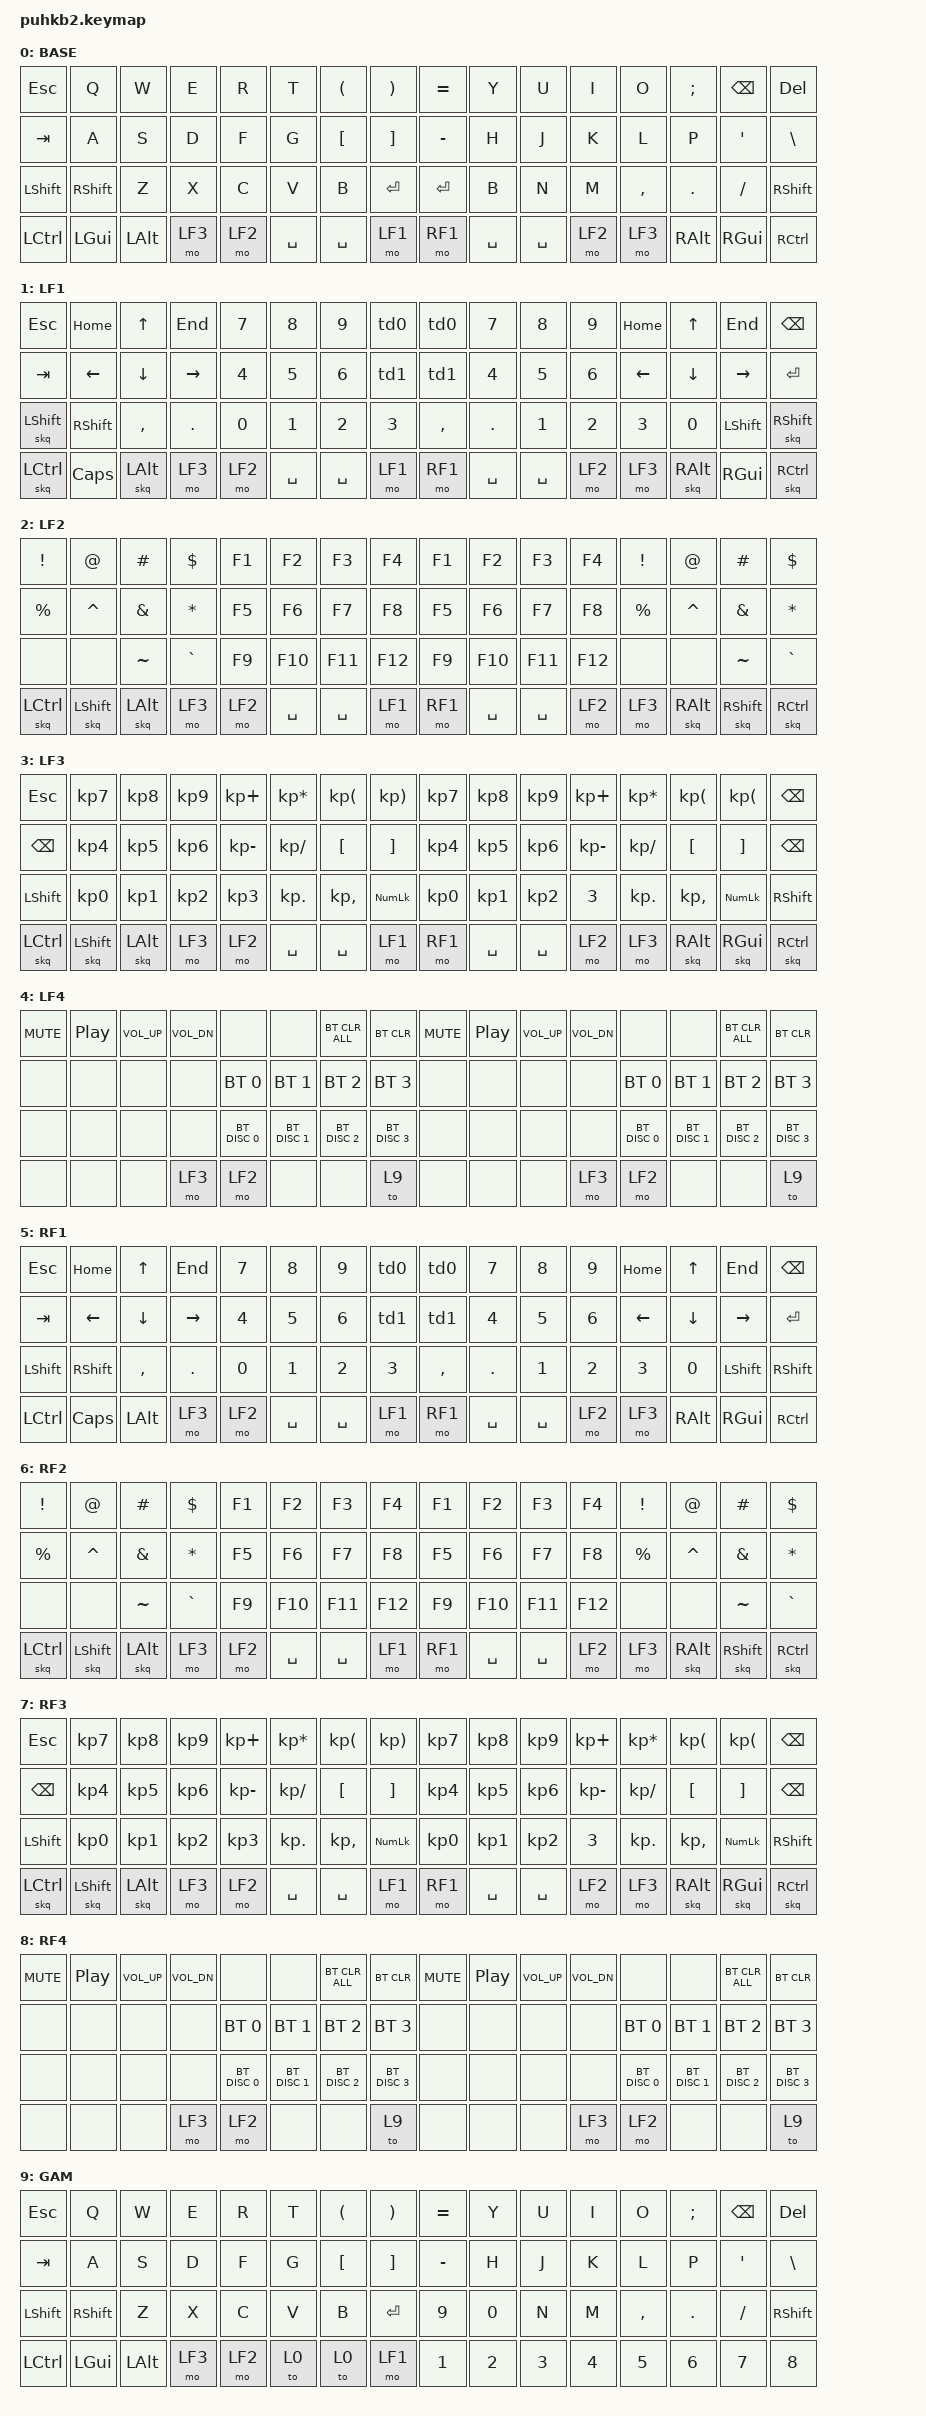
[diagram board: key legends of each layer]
/*
 * Copyright (c) 2020 The ZMK Contributors
 *
 * SPDX-License-Identifier: MIT
 */

#include <behaviors.dtsi>
#include <dt-bindings/zmk/keys.h>
#include <dt-bindings/zmk/bt.h>
#include <dt-bindings/zmk/outputs.h>

#define BASE 0
#define LF1 1
#define LF2 2
#define LF3 3
#define LF4 4
#define RF1 5
#define RF2 6
#define RF3 7
#define RF4 8
#define GAM 9

/ {

   // Activate LR1 layer by pressing LF1 and RF1
	conditional_layers {
		compatible = "zmk,conditional-layers";
		lf4_layer {
			if-layers = <LF2 LF3>;
			then-layer = <LF4>;
		};
		rf4_layer {
			if-layers = <RF2 RF3>;
			then-layer = <RF4>;
        };
    };
    
	behaviors {
		td0: tap_dance_0 {
            compatible = "zmk,behavior-tap-dance";
            #binding-cells = <0>;
			tapping-term-ms = <500>;
            bindings = <&kp KP_PLUS>, <&kp KP_MULTIPLY>;
        };
        td1: tap_dance_1 {
            compatible = "zmk,behavior-tap-dance";
            #binding-cells = <0>;
            tapping-term-ms = <500>;
            bindings = <&kp KP_MINUS>, <&kp KP_DIVIDE>;
        };
        skq: sticky_key_quick_release {
        	compatible = "zmk,behavior-sticky-key";
        	#binding-cells = <1>;
        	bindings = <&kp>;
        	release-after-ms = <3000>;
        	quick-release;
        	ignore-modifiers;
      	};
    };
    
	keymap {
		compatible = "zmk,keymap";
        
		default_layer {
			display-name = "BASE";
// * BASE
// * |---------------------------------------------------------|       |---------------------------------------------------------|
// *   | ESC  |   Q  |   W  |   E  |   R  |   T  |  (   |  )   |         |  =+  |   Y  |   U  |   I  |   O  |  ;:  | BSP  | DEL  |
// * |-----------------------------------------------------------|     |-----------------------------------------------------------|
// *     | TAB  |   A  |   S  |   D  |   F  |   G  |  [{  |  ]}  |         |  -_  |   H  |   J  |   K  |   L  |  P   |  '"  | \|   |
// * |-----------------------------------------------------------|     |-----------------------------------------------------------|
// * |LShift|RShift|   Z  |   X  |   C  |   V  |   B  | ENT  |         | ENT  |  B   |   N  |   M  |  ,<  |  .>  |  /?  |RShift|
// * |-------------------------------------------------------|         |-------------------------------------------------------|
// * |LCTRL | LGUI | LAlt | LF3  | LF2  | SPC  | SPC  | LF1  |         | RF1  |Space |Space |  LF2 | LF3  | RAlt | RGUI |RCTRL |
// * |-------------------------------------------------------|         |-------------------------------------------------------|
// */
            bindings = <
&kp ESC   &kp Q     &kp W    &kp E   &kp R   &kp T     &kp LPAR  &kp RPAR     &kp EQUAL &kp Y     &kp U     &kp I   &kp O     &kp SEMI &kp BSPC &kp DEL
&kp TAB   &kp A     &kp S    &kp D   &kp F   &kp G     &kp LBKT  &kp RBKT     &kp MINUS &kp H     &kp J     &kp K   &kp L     &kp P    &kp SQT  &kp BSLH
&kp LSHFT &kp RSHFT &kp Z    &kp X   &kp C   &kp V     &kp B     &kp RET      &kp RET   &kp B     &kp N     &kp M   &kp COMMA &kp DOT  &kp FSLH &kp RSHFT
&kp LCTRL &kp LGUI  &kp LALT &mo LF3 &mo LF2 &kp SPACE &kp SPACE &mo LF1      &mo RF1   &kp SPACE &kp SPACE &mo LF2 &mo LF3   &kp RALT &kp RGUI &kp RCTRL
            >;
        };

		lf1_layer {
			display-name = "LF1";
// * LF1
// * |---------------------------------------------------------|       |---------------------------------------------------------|
// *   | ESC  |  HO  |  UP  |  EN  |  7&  |  8*  |  9(  |  +*  |         |  +*  |  7&  |  8*  |  9(  |  HO  |  UP  | EN   | ESC  |
// * |-----------------------------------------------------------|     |-----------------------------------------------------------|
// *     | BSP  |  LE  |  DO  |  RI  |  4$  |  5%  |  6^  |  -/  |         |  -/  |  4$  |  5%  |  6^  |  LE  |  DO  | RI  | BSP  |
// * |-----------------------------------------------------------|     |-----------------------------------------------------------|
// * |LShift|RShift|  ,   |  .   |  0)  |  1!  |  2@  |  3#  |         |  ,   |  .   |  1!  |  2@  |  3#  |  0)  |LShift|RShift|
// * |-------------------------------------------------------|         |-------------------------------------------------------|
// * |LCTRL | CAP  | LAlt | LF3  | LF2  | SPC  | SPC  | LF1  |         | RF1  | SPC  | SPC  |  LF2 | LF3  | RAlt | RGUI |RCTRL |
// * |-------------------------------------------------------|         |-------------------------------------------------------|
// */
            bindings = <
&kp ESC    &kp HOME  &kp UP    &kp END   &kp N7  &kp N8    &kp N9    &td0       &td0      &kp N7    &kp N8    &kp N9  &kp HOME &kp UP    &kp END   &kp BSPC
&kp TAB    &kp LEFT  &kp DOWN  &kp RIGHT &kp N4  &kp N5    &kp N6    &td1       &td1      &kp N4    &kp N5    &kp N6  &kp LEFT &kp DOWN  &kp RIGHT &kp RET
&skq LSHFT &kp RSHFT &kp COMMA &kp DOT   &kp N0  &kp N1    &kp N2    &kp N3     &kp COMMA &kp DOT   &kp N1    &kp N2  &kp N3   &kp N0    &kp LSHFT &skq RSHFT
&skq LCTRL &kp CAPS  &skq LALT &mo LF3   &mo LF2 &kp SPACE &kp SPACE &mo LF1    &mo RF1   &kp SPACE &kp SPACE &mo LF2 &mo LF3  &skq RALT &kp RGUI  &skq RCTRL
            >;
        };
        
		lf2_layer {
			display-name = "LF2";
// * LF2
// * |---------------------------------------------------------|       |---------------------------------------------------------|
// *   |  !   |  @   |  #   |  $   |  F1  |  F2  |  F3  |  F4  |         |  F1  |  F2  |  F3  |  F4  |  !   |  @   |  #   |  $   |
// * |-----------------------------------------------------------|     |-----------------------------------------------------------|
// *     |  %   |  ^   |  &   |  *   |  F5  |  F6  |  F7  |  F8  |         |  F5  |  F6  |  F7  |  F8  |  %   |  ^   |  &   |  *   |
// * |-----------------------------------------------------------|     |-----------------------------------------------------------|
// * |      |      |  ~   |  `   |  F9  |  F10 |  F11 |  F12 |         |  F9  |  F10 |  F11 |  F12 |      |      |  ~   |  `   |
// * |-------------------------------------------------------|         |-------------------------------------------------------|
// * |LCTRL |LShift| LAlt | LF3  | LF2  | SPC  | SPC  | LF1  |         | RF1  | SPC  | SPC  |  LF2 | LF3  | RAlt |RShift|RCTRL |
// * |-------------------------------------------------------|         |-------------------------------------------------------|
// */
            bindings = <
&kp EXCL   &kp AT     &kp HASH  &kp DLLR  &kp F1  &kp F2    &kp F3    &kp F4     &kp F1  &kp F2    &kp F3    &kp F4  &kp EXCL  &kp AT     &kp HASH   &kp DLLR
&kp PRCNT  &kp CARET  &kp AMPS  &kp STAR  &kp F5  &kp F6    &kp F7    &kp F8     &kp F5  &kp F6    &kp F7    &kp F8  &kp PRCNT &kp CARET  &kp AMPS   &kp STAR
&none      &none      &kp TILDE &kp GRAVE &kp F9  &kp F10   &kp F11   &kp F12    &kp F9  &kp F10   &kp F11   &kp F12 &none     &none      &kp TILDE  &kp GRAVE
&skq LCTRL &skq LSHFT &skq LALT &mo LF3   &mo LF2 &kp SPACE &kp SPACE &mo LF1    &mo RF1 &kp SPACE &kp SPACE &mo LF2 &mo LF3   &skq RALT  &skq RSHFT &skq RCTRL
            >;
        };
        
		lf3_layer {
			display-name = "LF3";
// * LF3
// * |---------------------------------------------------------|       |---------------------------------------------------------|
// *   | ESC  |  N7  |  N8  |  N9  |  +   |  *   |  (   |  )   |         |  N7  |  N8  |  N9  |  +   |  *   |  (   |  )   | ESC  |
// * |-----------------------------------------------------------|     |-----------------------------------------------------------|
// *     | BSP  |  N4  |  N5  |  N6  |  -   |  /   |  [{  |  ]}  |         |  N4  |  N5  |  N6  |  -   |  /   |  [{  |  ]}  | BSP  |
// * |-----------------------------------------------------------|     |-----------------------------------------------------------|
// * |LShift|  N0  |  N1  |  N2  |  N3  | .DEL |  ,   |NUMLOC|         |  N0  |  N1  |  N2  |  N3  | .DEL |  ,   |NUMLOC|RShift|
// * |-------------------------------------------------------|         |-------------------------------------------------------|
// * |LCTRL |LShift| LAlt | LF3  | LF2  | SPC  | SPC  | LOW  |         | RAI  | SPC  | SPC  |  LF2 | LF3  | RAlt |RShift|RCTRL |
// * |-------------------------------------------------------|         |-------------------------------------------------------|
// */
            bindings = <
&kp ESC    &kp KP_N7  &kp KP_N8 &kp KP_N9 &kp KP_PLUS  &kp KP_MULTIPLY &kp KP_LPAR  &kp KP_RPAR    &kp KP_N7 &kp KP_N8 &kp KP_N9 &kp KP_PLUS  &kp KP_MULTIPLY &kp KP_LPAR  &kp KP_LPAR &kp BSPC
&kp BSPC   &kp KP_N4  &kp KP_N5 &kp KP_N6 &kp KP_MINUS &kp KP_DIVIDE   &kp LBKT     &kp RBKT       &kp KP_N4 &kp KP_N5 &kp KP_N6 &kp KP_MINUS &kp KP_DIVIDE   &kp LBKT     &kp RBKT    &kp BSPC
&kp LSHFT  &kp KP_N0  &kp KP_N1 &kp KP_N2 &kp KP_N3    &kp KP_DOT      &kp KP_COMMA &kp KP_NUM     &kp KP_N0 &kp KP_N1 &kp KP_N2 &kp N3       &kp KP_DOT      &kp KP_COMMA &kp KP_NUM  &kp RSHFT
&skq LCTRL &skq LSHFT &skq LALT &mo LF3   &mo LF2      &kp SPACE       &kp SPACE    &mo LF1        &mo RF1   &kp SPACE &kp SPACE &mo LF2      &mo LF3         &skq RALT    &skq RGUI   &skq RCTRL
            >;
        };
        
        lf4_layer {
			display-name = "LF4";
// * LF4
// * |---------------------------------------------------------|       |---------------------------------------------------------|
// *   | MUTE | PLAY | VUP  | VDO  |      |      | BTCLA| BTCL  |        | MUTE | PLAY | VUP  | VDO  |      |      | BTCLA| BTCL  |
// * |-----------------------------------------------------------|     |-----------------------------------------------------------|
// *     |      |      |      |      | BTS0 | BTS1 | BTS2 | BTS3 |         |      |      |      |      | BTS0 | BTS1 | BTS2 | BTS3 |
// * |-----------------------------------------------------------|     |-----------------------------------------------------------|
// * |      |      |      |      | BTD0 | BTD1 | BTD2 | BTD3 |         |      |      |      |      | BTS0 | BTS1 | BTS2 | BTS3 |
// * |-------------------------------------------------------|         |-------------------------------------------------------|
// * |      |      |      | LF3  | LF2  |      |      | GAME |         | GAME1|      |      |  LF2 | LF3  |      |      | GAME |
// * |-------------------------------------------------------|         |-------------------------------------------------------|
// */
            bindings = <
&kp C_MUTE &kp C_PP &kp C_VOL_UP &kp C_VOL_DN &none         &none         &bt BT_CLR_ALL &bt BT_CLR       &kp C_MUTE &kp C_PP &kp C_VOL_UP &kp C_VOL_DN &none         &none         &bt BT_CLR_ALL &bt BT_CLR
&none      &none    &none        &none        &bt BT_SEL 0  &bt BT_SEL 1  &bt BT_SEL 2   &bt BT_SEL 3     &none      &none    &none        &none        &bt BT_SEL 0  &bt BT_SEL 1  &bt BT_SEL 2   &bt BT_SEL 3
&none      &none    &none        &none        &bt BT_DISC 0 &bt BT_DISC 1 &bt BT_DISC 2  &bt BT_DISC 3    &none      &none    &none        &none        &bt BT_DISC 0 &bt BT_DISC 1 &bt BT_DISC 2  &bt BT_DISC 3
&none      &none    &none        &mo LF3      &mo LF2       &none         &none          &to 9            &none      &none    &none        &mo LF3      &mo LF2       &none         &none          &to 9
            >;
        };
        
		rf1_layer {
			display-name = "RF1";
// * RF1
// * |---------------------------------------------------------|       |---------------------------------------------------------|
// *   | ESC  |  HO  |  UP  |  EN  |  7&  |  8*  |  9(  |  +*  |         |  +*  |  7&  |  8*  |  9(  |  HO  |  UP  | EN   | ESC  |
// * |-----------------------------------------------------------|     |-----------------------------------------------------------|
// *     | BSP  |  LE  |  DO  |  RI  |  4$  |  5%  |  6^  |  -/  |         |  -/  |  4$  |  5%  |  6^  |  LE  |  DO  | RI  | BSP  |
// * |-----------------------------------------------------------|     |-----------------------------------------------------------|
// * |LShift|RShift|  ,   |  .   |  0)  |  1!  |  2@  |  3#  |         |  ,   |  .   |  1!  |  2@  |  3#  |  0)  |LShift|RShift|
// * |-------------------------------------------------------|         |-------------------------------------------------------|
// * |LCTRL | CAP  | LAlt | LF3  | LF2  | SPC  | SPC  | LF1  |         | RF1  | SPC  | SPC  |  LF2 | LF3  | RAlt | RGUI |RCTRL |
// * |-------------------------------------------------------|         |-------------------------------------------------------|
// */
            bindings = <
&kp ESC   &kp HOME  &kp UP    &kp END   &kp N7  &kp N8    &kp N9    &td0       &td0      &kp N7    &kp N8    &kp N9  &kp HOME &kp UP   &kp END   &kp BSPC
&kp TAB   &kp LEFT  &kp DOWN  &kp RIGHT &kp N4  &kp N5    &kp N6    &td1       &td1      &kp N4    &kp N5    &kp N6  &kp LEFT &kp DOWN &kp RIGHT &kp RET
&kp LSHFT &kp RSHFT &kp COMMA &kp DOT   &kp N0  &kp N1    &kp N2    &kp N3     &kp COMMA &kp DOT   &kp N1    &kp N2  &kp N3   &kp N0   &kp LSHFT &kp RSHFT
&kp LCTRL &kp CAPS  &kp LALT  &mo LF3   &mo LF2 &kp SPACE &kp SPACE &mo LF1    &mo RF1   &kp SPACE &kp SPACE &mo LF2 &mo LF3  &kp RALT &kp RGUI  &kp RCTRL
            >;
        };
        
		rf2_layer {
			display-name = "RF2";
// * RF2
// * |---------------------------------------------------------|       |---------------------------------------------------------|
// *   |  !   |  @   |  #   |  $   |  F1  |  F2  |  F3  |  F4  |         |  F1  |  F2  |  F3  |  F4  |  !   |  @   |  #   |  $   |
// * |-----------------------------------------------------------|     |-----------------------------------------------------------|
// *     |  %   |  ^   |  &   |  *   |  F5  |  F6  |  F7  |  F8  |         |  F5  |  F6  |  F7  |  F8  |  %   |  ^   |  &   |  *   |
// * |-----------------------------------------------------------|     |-----------------------------------------------------------|
// * |      |      |  ~   |  `   |  F9  |  F10 |  F11 |  F12 |         |  F9  |  F10 |  F11 |  F12 |  !   |  !   |  ~   |  `   |
// * |-------------------------------------------------------|         |-------------------------------------------------------|
// * |LCTRL |LShift| LAlt | LF3  | LF2  | SPC  | SPC  | LF1  |         | RF1  | SPC  | SPC  |  LF2 | LF3  | RAlt |RShift|RCTRL |
// * |-------------------------------------------------------|         |-------------------------------------------------------|
// */
            bindings = <
&kp EXCL   &kp AT     &kp HASH  &kp DLLR  &kp F1  &kp F2    &kp F3    &kp F4     &kp F1  &kp F2    &kp F3    &kp F4  &kp EXCL  &kp AT     &kp HASH   &kp DLLR
&kp PRCNT  &kp CARET  &kp AMPS  &kp STAR  &kp F5  &kp F6    &kp F7    &kp F8     &kp F5  &kp F6    &kp F7    &kp F8  &kp PRCNT &kp CARET  &kp AMPS   &kp STAR
&none      &none      &kp TILDE &kp GRAVE &kp F9  &kp F10   &kp F11   &kp F12    &kp F9  &kp F10   &kp F11   &kp F12 &none     &none      &kp TILDE  &kp GRAVE
&skq LCTRL &skq LSHFT &skq LALT &mo LF3   &mo LF2 &kp SPACE &kp SPACE &mo LF1    &mo RF1 &kp SPACE &kp SPACE &mo LF2 &mo LF3   &skq RALT  &skq RSHFT &skq RCTRL
            >;
        };
        
        rf3_layer {
			display-name = "RF3";
// * RF3
// * |---------------------------------------------------------|       |---------------------------------------------------------|
// *   | ESC  |  N7  |  N8  |  N9  |  +   |  *   |  (   |  )   |         |  N7  |  N8  |  N9  |  +   |  *   |  (   |  )   | ESC  |
// * |-----------------------------------------------------------|     |-----------------------------------------------------------|
// *     | BSP  |  N4  |  N5  |  N6  |  -   |  /   |  [{  |  ]}  |         |  N4  |  N5  |  N6  |  -   |  /   |  [{  |  ]}  | BSP  |
// * |-----------------------------------------------------------|     |-----------------------------------------------------------|
// * |LShift|  N0  |  N1  |  N2  |  N3  | .DEL |  ,   |NUMLOC|         |  N0  |  N1  |  N2  |  N3  | .DEL |  ,   |NUMLOC|RShift|
// * |-------------------------------------------------------|         |-------------------------------------------------------|
// * |LCTRL |LShift| LAlt | LF3  | LF2  | SPC  | SPC  | LOW  |         | RAI  | SPC  | SPC  |  LF2 | LF3  | RAlt |RShift|RCTRL |
// * |-------------------------------------------------------|         |-------------------------------------------------------|
// */
            bindings = <
&kp ESC    &kp KP_N7  &kp KP_N8 &kp KP_N9 &kp KP_PLUS  &kp KP_MULTIPLY &kp KP_LPAR  &kp KP_RPAR    &kp KP_N7 &kp KP_N8 &kp KP_N9 &kp KP_PLUS  &kp KP_MULTIPLY &kp KP_LPAR  &kp KP_LPAR &kp BSPC
&kp BSPC   &kp KP_N4  &kp KP_N5 &kp KP_N6 &kp KP_MINUS &kp KP_DIVIDE   &kp LBKT     &kp RBKT       &kp KP_N4 &kp KP_N5 &kp KP_N6 &kp KP_MINUS &kp KP_DIVIDE   &kp LBKT     &kp RBKT    &kp BSPC
&kp LSHFT  &kp KP_N0  &kp KP_N1 &kp KP_N2 &kp KP_N3    &kp KP_DOT      &kp KP_COMMA &kp KP_NUM     &kp KP_N0 &kp KP_N1 &kp KP_N2 &kp N3       &kp KP_DOT      &kp KP_COMMA &kp KP_NUM  &kp RSHFT
&skq LCTRL &skq LSHFT &skq LALT &mo LF3   &mo LF2      &kp SPACE       &kp SPACE    &mo LF1        &mo RF1   &kp SPACE &kp SPACE &mo LF2      &mo LF3         &skq RALT    &skq RGUI   &skq RCTRL
            >;
        };
		
		rf4_layer {
			display-name = "RF4";
// * RF4
// * |---------------------------------------------------------|       |---------------------------------------------------------|
// *   | MUTE | PLAY | VUP  | VDO  |      |      | BTCLA| BTCL |        | MUTE | PLAY | VUP  | VDO  |      |      | BTCLA| BTCL |
// * |-----------------------------------------------------------|     |-----------------------------------------------------------|
// *     |      |      |      |      | BTS0 | BTS1 | BTS2 | BTS3 |         |      |      |      |      | BTS0 | BTS1 | BTS2 | BTS3 |
// * |-----------------------------------------------------------|     |-----------------------------------------------------------|
// * |      |      |      |      | BTD0 | BTD1 | BTD2 | BTD3 |         |      |      |      |      | BTS0 | BTS1 | BTS2 | BTS3 |
// * |-------------------------------------------------------|         |-------------------------------------------------------|
// * |      |      |      | LF3  | LF2  |      |      | GAME |         | GAME1|      |      |  LF2 | LF3  |      |      | GAME |
// * |-------------------------------------------------------|         |-------------------------------------------------------|
// */
            bindings = <
&kp C_MUTE &kp C_PP &kp C_VOL_UP &kp C_VOL_DN &none         &none         &bt BT_CLR_ALL &bt BT_CLR       &kp C_MUTE &kp C_PP &kp C_VOL_UP &kp C_VOL_DN &none         &none         &bt BT_CLR_ALL &bt BT_CLR
&none      &none    &none        &none        &bt BT_SEL 0  &bt BT_SEL 1  &bt BT_SEL 2   &bt BT_SEL 3     &none      &none    &none        &none        &bt BT_SEL 0  &bt BT_SEL 1  &bt BT_SEL 2   &bt BT_SEL 3
&none      &none    &none        &none        &bt BT_DISC 0 &bt BT_DISC 1 &bt BT_DISC 2  &bt BT_DISC 3    &none      &none    &none        &none        &bt BT_DISC 0 &bt BT_DISC 1 &bt BT_DISC 2  &bt BT_DISC 3
&none      &none    &none        &mo LF3      &mo LF2       &none         &none          &to 9            &none      &none    &none        &mo LF3      &mo LF2       &none         &none          &to 9
            >;
        };

        gam_layer {
        display-name = "GAM";
// * GAM
// * |---------------------------------------------------------|       |---------------------------------------------------------|
// *   | ESC  |   Q  |   W  |   E  |   R  |   T  |  (   |  )   |         |  =+  |   Y  |   U  |   I  |   O  |  ;:  | BSP  | DEL  |
// * |-----------------------------------------------------------|     |-----------------------------------------------------------|
// *     | TAB  |   A  |   S  |   D  |   F  |   G  |  [{  |  ]}  |         |  -_  |   H  |   J  |   K  |   L  |  P   |  '"  | \|   |
// * |-----------------------------------------------------------|     |-----------------------------------------------------------|
// * |LShift|LCTRL |   Z  |   X  |   C  |   V  |   B  | ENT  |         |  9(  |  0)  |   N  |   M  |  ,<  |  .>  |  /?  |RShift|
// * |-------------------------------------------------------|         |-------------------------------------------------------|
// * |LCTRL | LGUI | LAlt | LF3  | LF2  | BASE | BASE | LF1  |         |  1!  |  2@  |  3#  |  4$  |  5%  |  6^  |  7&  |  8*  |
// * |-------------------------------------------------------|         |-------------------------------------------------------|
// */
            bindings = <
&kp ESC   &kp Q     &kp W    &kp E   &kp R   &kp T &kp LPAR &kp RPAR     &kp EQUAL &kp Y     &kp U     &kp I   &kp O     &kp SEMI &kp BSPC &kp DEL
&kp TAB   &kp A     &kp S    &kp D   &kp F   &kp G &kp LBKT &kp RBKT     &kp MINUS &kp H     &kp J     &kp K   &kp L     &kp P    &kp SQT  &kp BSLH
&kp LSHFT &kp RSHFT &kp Z    &kp X   &kp C   &kp V &kp B    &kp RET      &kp N9    &kp N0    &kp N     &kp M   &kp COMMA &kp DOT  &kp FSLH &kp RSHFT
&kp LCTRL &kp LGUI  &kp LALT &mo LF3 &mo LF2 &to 0 &to 0    &mo LF1      &kp N1    &kp N2    &kp N3    &kp N4  &kp N5    &kp N6   &kp N7   &kp N8
            >;
        };
    };
};
